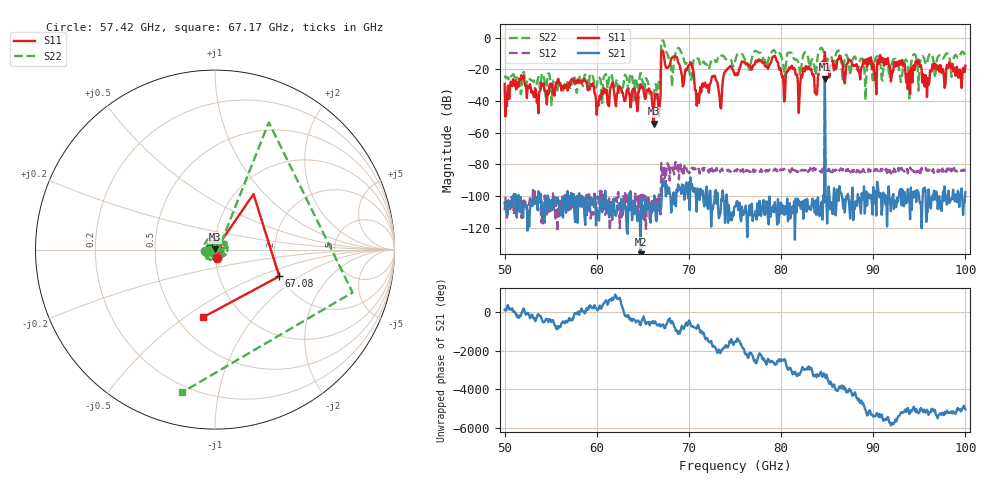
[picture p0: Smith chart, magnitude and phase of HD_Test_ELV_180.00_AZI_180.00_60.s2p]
! 11/25/2026 9:32:00 AM
! C:\ANRITSUVNA\TEMP\TEMP.S2P
! CHANNEL.1
! TR.MEASUREMENT
! RAW.DATA
# HZ S RI R 50.0
! FREQ.HZ  S11RE  S11IM  S21RE  S21IM  S12RE  S12IM  S22RE  S22IM
!; PortSelection: Port_12
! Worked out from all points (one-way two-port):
!   601 points, 50 GHz to 100 GHz, reference 50 ohm
!   highest |S21| = -26.07 dB at 84.75 GHz (marker M1); lowest = -137.0 dB at 64.75 GHz (marker M2)
!   lowest |S11| = -54.3 dB at 66.17 GHz (marker M3), VSWR 1.00, Z = 50.1 + j0.146 ohm
!   |S11| at or under -10 dB: start of sweep to 67 GHz; 67.24 GHz to 84.74 GHz (17.5 GHz wide, 23 % of centre); 84.76 GHz to end of sweep
!   |S22| runs from -42.6 to -1.8 dB; largest |S21 - S12| = 0.042
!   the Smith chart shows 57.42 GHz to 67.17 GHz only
!   S11 on the Smith chart (normalised r, x): 57.42 GHz: 1.02, -0.10; 67.08 GHz: 1.95, -0.69; 67.17 GHz: 0.67, -0.59
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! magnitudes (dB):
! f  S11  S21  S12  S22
! 50 GHz  -29.2  -104.4  -109.1  -25.4
! 57.42 GHz  -26.3  -99.2  -107.0  -25.3
! 58.42 GHz  -27.2  -100.2  -106.2  -29.0
! 60.17 GHz  -43.1  -114.4  -100.9  -24.9
! 64.75 GHz  -29.5  -137.0  -99.4  -22.3
! 66.17 GHz  -54.3  -108.7  -105.4  -35.4
! 66.67 GHz  -42.0  -104.4  -109.2  -32.2
! 67.08 GHz  -8.2  -94.9  -83.7  -1.9
! 67.17 GHz  -8.3  -89.1  -88.0  -1.8
! 70.17 GHz  -15.5  -88.3  -83.3  -25.7
! 70.92 GHz  -40.8  -95.3  -83.4  -13.3
! 75 GHz  -23.7  -106.7  -83.8  -15.0
! 79.25 GHz  -11.8  -110.3  -83.4  -7.9
! 80.25 GHz  -27.6  -110.7  -83.5  -17.6
! 83.42 GHz  -23.8  -101.7  -84.3  -13.6
! 83.83 GHz  -36.1  -112.1  -82.8  -19.5
! 84.75 GHz  -9.1  -26.1  -40.3  -11.9
! 91.67 GHz  -16.6  -94.0  -84.1  -20.4
! 93.75 GHz  -32.6  -95.7  -85.8  -17.2
! 94.83 GHz  -15.0  -97.4  -84.9  -20.3
! 95.83 GHz  -37.4  -111.5  -83.3  -15.9
! 100 GHz  -17.8  -97.7  -83.5  -12.1
